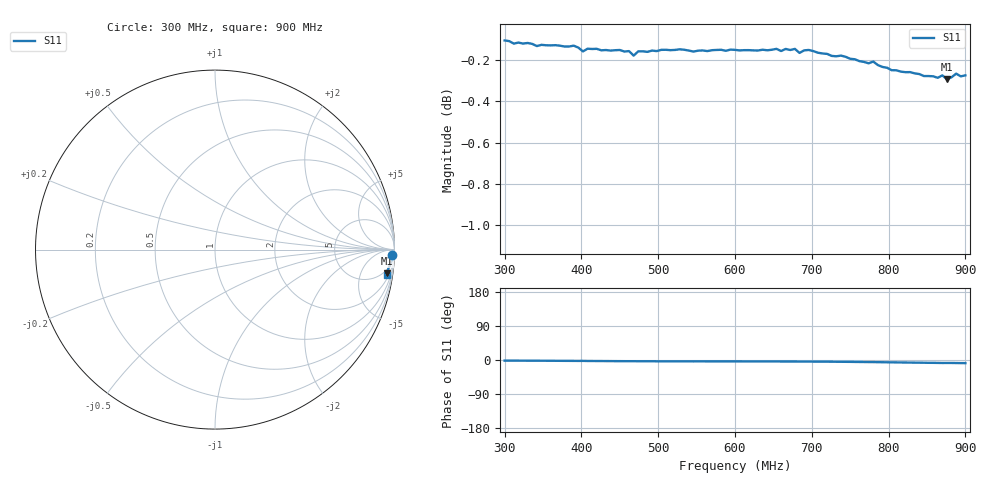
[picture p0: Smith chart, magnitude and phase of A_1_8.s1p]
# HZ S RI R 50
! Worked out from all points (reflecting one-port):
!   101 points, 300 MHz to 900 MHz, reference 50 ohm
!   lowest |S11| = -0.3 dB at 876 MHz (marker M1), VSWR 59.37, Z = 171 - j690 ohm
!   phase of S11 starts at -2 deg and turns -7 deg over the sweep
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3e8  0.9877 -0.0283
3.12e8  0.986 -0.0276
3.78e8  0.984 -0.0387
3.96e8  0.9833 -0.042
4.02e8  0.9813 -0.0397
4.08e8  0.9826 -0.0441
4.5e8  0.9815 -0.0521
4.68e8  0.9783 -0.0539
4.74e8  0.9805 -0.0556
5.28e8  0.9814 -0.0609
6e8  0.981 -0.0623
6.42e8  0.9805 -0.0655
6.54e8  0.9814 -0.0636
6.6e8  0.98 -0.0674
6.78e8  0.9811 -0.0682
6.84e8  0.9787 -0.0705
6.96e8  0.9803 -0.0711
7.08e8  0.9787 -0.0728
7.5e8  0.9745 -0.0837
7.74e8  0.9711 -0.0932
7.8e8  0.972 -0.0934
8.04e8  0.9662 -0.1046
8.28e8  0.964 -0.1147
8.7e8  0.9599 -0.1323
8.76e8  0.9579 -0.1315
8.82e8  0.959 -0.1315
8.88e8  0.9605 -0.1349
9e8  0.959 -0.1388
